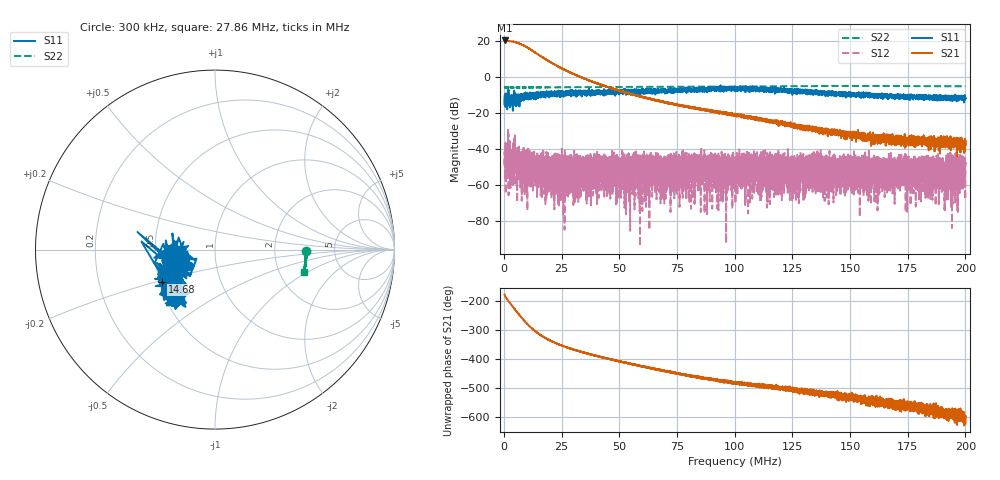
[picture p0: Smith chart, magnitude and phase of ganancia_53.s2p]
# Hz S DB R 50
! CMT, M5065, 19127446, 24.2.4/2
! Date: 11/8/2024 5:24:02 PM
! Data: Format (Calibration Info)
! Freq	S11:dB/Ang(F2)	S21:dB/Ang(F2)	S12:dB/Ang(F2)	S22:dB/Ang(F2)
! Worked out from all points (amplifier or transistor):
!   9000 points, 300 kHz to 200 MHz, reference 50 ohm
!   highest |S21| = 20.1 dB at 388.8 kHz (marker M1)
!   |S21| within 3 dB of that: start of sweep to 8.821 MHz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
!   unconditionally stable (mu >= 1): start of sweep to end of sweep
!   at 33.59 MHz: K = 64.15, MAG = 1.7 dB, |S12| = -45.9 dB
!   at 100.2 MHz: K = 3258.54, MAG = -18.2 dB, |S12| = -60.8 dB
!   at 200 MHz: K = 6804.00, MAG = -35.9 dB, |S12| = -48.7 dB
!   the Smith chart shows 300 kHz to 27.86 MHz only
!   S11 on the Smith chart (normalised r, x): 300 kHz: 0.73, -0.14; 14.68 MHz: 0.52, -0.21; 27.86 MHz: 0.59, -0.37
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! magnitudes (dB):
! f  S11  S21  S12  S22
! 300 kHz  -15.2  20.0  -49.6  -5.9
! 388.8 kHz  -14.8  20.1  -42.2  -5.9
! 1.41 MHz  -14.5  19.9  -40.3  -5.9
! 6.713 MHz  -16.5  18.4  -48.4  -5.9
! 14.68 MHz  -9.2  12.4  -47.4  -5.9
! 17.45 MHz  -9.5  10.2  -46.7  -5.9
! 27.86 MHz  -9.4  2.9  -50.8  -5.8
! 33.59 MHz  -8.6  -0.3  -45.9  -5.8
! 47.61 MHz  -8.0  -6.8  -49.3  -5.6
! 49.59 MHz  -8.0  -7.5  -43.9  -5.6
! 51.41 MHz  -8.2  -8.2  -48.5  -5.6
! 53.83 MHz  -7.9  -9.2  -53.0  -5.6
! 55.84 MHz  -7.2  -9.7  -59.4  -5.6
! 59.02 MHz  -9.0  -11.0  -51.9  -5.6
! 66.87 MHz  -8.6  -13.4  -45.1  -5.5
! 100.2 MHz  -6.1  -20.9  -60.8  -5.4
! 133.4 MHz  -8.7  -30.1  -52.8  -5.2
! 166.7 MHz  -11.4  -34.0  -44.9  -5.1
! 190.6 MHz  -12.5  -35.7  -53.0  -5.2
! 192.7 MHz  -11.5  -36.0  -47.8  -5.3
! 194.6 MHz  -11.3  -36.1  -44.1  -5.3
! 200 MHz  -11.7  -37.7  -48.7  -5.3
